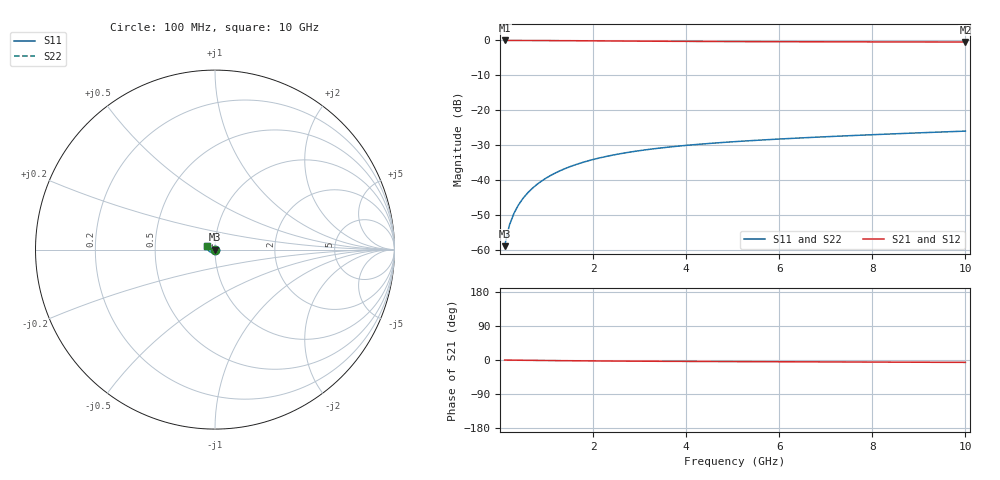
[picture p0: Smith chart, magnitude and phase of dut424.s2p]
! Touchstone file exported from HFSS 2024.1.0
!  File:  C:/UserFiles/LocalFiles/RDL_TSV_Batchsim/temp_TSV1_424_1779693673.aedt
!  Generated:  03:27:44 PM May 25, 2026
!  Design:  TSV1
!  Project:  temp_TSV1_424_1779693673
!  Setup:  Setup1
!  Solution:  Sweep
! Variables:
!  dtsv = 8.37um
!  hbump = 3um
!  htsv = 96.78um
!  lrdl = 252.1521522um
!  p = 40
!  p1 = 57.72um
!  t = 500um
!  trdl = 3um
!  wrdl = 24.89489489um
# GHz S MA R 50.000000
! Terminal data exported
! Port[1] = TSV22_T1
! Port[2] = TSV22_T2
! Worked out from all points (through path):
!   100 points, 100 MHz to 10 GHz, reference 50 ohm
!   highest |S21| = 0.00 dB at 100 MHz (marker M1); lowest = -0.4 dB at 10 GHz (marker M2)
!   lowest |S11| = -59.0 dB at 100 MHz (marker M3), VSWR 1.00, Z = 50 - j0.111 ohm
!   |S11| at or under -10 dB: start of sweep to end of sweep
!   |S22| runs from -59.0 to -26.0 dB; largest |S21 - S12| = 5.1e-15
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0.1  0.001122 -80.2  0.9997 -0.1  0.9997 -0.1  0.001122 -80.2
! Gamma 0 0 0 0
! Port Impedance 50 0 50 0
0.2  0.002213 -88.1  0.9996 -0.3  0.9996 -0.3  0.002213 -88.1
0.3  0.00331 -92.2  0.9994 -0.4  0.9994 -0.4  0.00331 -92.2
0.4  0.004404 -95.4  0.9991 -0.6  0.9991 -0.6  0.004404 -95.4
0.5  0.005488 -98.1  0.9987 -0.7  0.9987 -0.7  0.005488 -98.1
0.6  0.006562 -100.6  0.9982 -0.8  0.9982 -0.8  0.006562 -100.6
0.7  0.007622 -103.0  0.9977 -1.0  0.9977 -1.0  0.007622 -103.0
0.8  0.008667 -105.3  0.9971 -1.1  0.9971 -1.1  0.008667 -105.3
0.9  0.009695 -107.6  0.9965 -1.2  0.9965 -1.2  0.009695 -107.6
1.1  0.0117 -111.9  0.9951 -1.5  0.9951 -1.5  0.0117 -111.9
1.4  0.01454 -118.0  0.9926 -1.8  0.9926 -1.8  0.01454 -118.0
1.6  0.01632 -121.9  0.9908 -2.0  0.9908 -2.0  0.01632 -121.9
1.8  0.01801 -125.7  0.9889 -2.2  0.9889 -2.2  0.01801 -125.7
2.1  0.02036 -131.1  0.986 -2.5  0.986 -2.5  0.02036 -131.1
2.5  0.02319 -137.7  0.9822 -2.8  0.9822 -2.8  0.02319 -137.7
2.9  0.0257 -143.9  0.9786 -3.1  0.9786 -3.1  0.0257 -143.9
3.4  0.02844 -151.0  0.9744 -3.4  0.9744 -3.4  0.02844 -151.0
4.2  0.03212 -160.9  0.9687 -3.8  0.9687 -3.8  0.03212 -160.9
5.1  0.03556 -170.5  0.9636 -4.2  0.9636 -4.2  0.03556 -170.5
6.7  0.04071 175.5  0.9572 -4.9  0.9572 -4.9  0.04071 175.5
8.4  0.04561 163.7  0.9527 -5.6  0.9527 -5.6  0.04561 163.7
10  0.0501 154.6  0.9498 -6.3  0.9498 -6.3  0.0501 154.6
